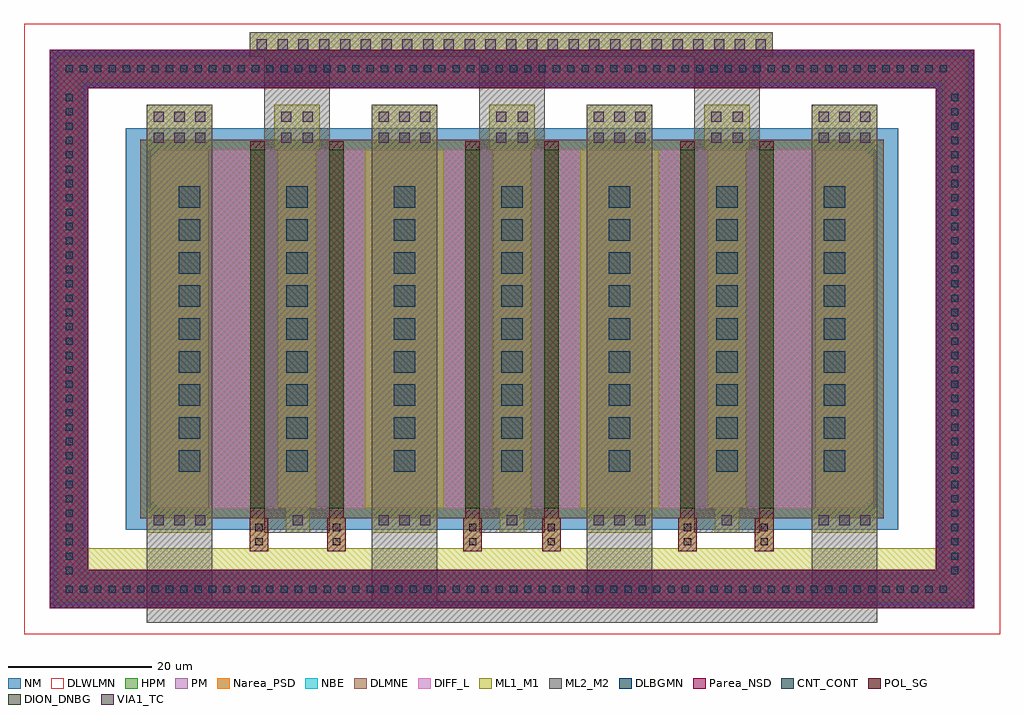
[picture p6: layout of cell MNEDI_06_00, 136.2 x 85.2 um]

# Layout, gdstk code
from math import pi, radians
import gdstk
lib = gdstk.Library(unit=1e-6, precision=1e-09)
def R(c, l, rs):  # rectangles x0, y0, x1, y1
    for r in rs: c.add(gdstk.rectangle(r[:2], r[2:], *l))
def A(c, l, x, y, w, h, nx, ny, dx, dy):  # array of equal rectangles
    R(c, l, [(x+i*dx, y+j*dy, x+i*dx+w, y+j*dy+h) for i in range(nx) for j in range(ny)])
def P(c, l, *ps):  # polygons
    for p in ps: c.add(gdstk.Polygon(p, *l))
DIFF_L = (3, 0)
NM = (7, 0)
POL_SG = (8, 0)
Narea_PSD = (9, 0)
CNT_CONT = (11, 0)
ML1_M1 = (13, 0)
VIA1_TC = (19, 0)
ML2_M2 = (20, 0)
Parea_NSD = (28, 0)
HPM = (33, 0)
PM = (35, 0)
DION_DNBG = (117, 0)
NBE = (147, 0)
DLWLMN = (151, 0)
DLMNE = (170, 0)
DLBGMN = (178, 0)

mne_cdns_696586926130 = lib.new_cell('MNE_CDNS_696586926130')
R(mne_cdns_696586926130, DIFF_L, [(10,0,12,50)])
P(mne_cdns_696586926130, DIFF_L, [(12,0),(12,50),(24.6,50),(26,48.6),(26,1.4),(24.6,0)],
  [(1.4,0),(0,1.4),(0,48.6),(1.4,50),(10,50),(10,0)])
R(mne_cdns_696586926130, NM, [(-1.4,-1.4,27.4,51.4)])
R(mne_cdns_696586926130, POL_SG, [(10,-1.2,12,0), (10,-1.2,12,51.2), (10,50,12,51.2)])
R(mne_cdns_696586926130, Narea_PSD, [(-1.4,-1.4,27.4,51.4)])
A(mne_cdns_696586926130, CNT_CONT, 4, 5.1, 3, 3, 1, 9, 0, 4.6)
A(mne_cdns_696586926130, CNT_CONT, 19, 5.1, 3, 3, 1, 9, 0, 4.6)
R(mne_cdns_696586926130, ML1_M1, [(2.8,0,8.2,50), (17.8,0,26,50)])
R(mne_cdns_696586926130, HPM, [(-1.4,-1.4,27.4,51.4)])
R(mne_cdns_696586926130, PM, [(-1.4,-1.4,27.4,51.4)])
R(mne_cdns_696586926130, DION_DNBG, [(10,0,12,50)])
R(mne_cdns_696586926130, NBE, [(-1.4,-1.4,27.4,51.4)])
R(mne_cdns_696586926130, DLMNE, [(-1.4,-1.4,27.4,51.4)])

bgmn_cdns_696586926131 = lib.new_cell('BGMN_CDNS_696586926131')
R(bgmn_cdns_696586926131, DIFF_L, [(0,0,126.2,2.6)])
R(bgmn_cdns_696586926131, NM, [(-1.4,-1.4,127.6,4)])
A(bgmn_cdns_696586926131, CNT_CONT, 0.8, 0.8, 1, 1, 62, 1, 2, 0)
R(bgmn_cdns_696586926131, ML1_M1, [(0,0,126.2,2.6)])
R(bgmn_cdns_696586926131, Parea_NSD, [(-1.4,-1.4,127.6,4)])
R(bgmn_cdns_696586926131, HPM, [(-1.4,-1.4,127.6,4)])
R(bgmn_cdns_696586926131, PM, [(-1.4,-1.4,127.6,4)])

wlmn_cdns_696586926132 = lib.new_cell('WLMN_CDNS_696586926132')
R(wlmn_cdns_696586926132, DLWLMN, [(0,0,136.2,85.2)])

bgmn_cdns_696586926133 = lib.new_cell('BGMN_CDNS_696586926133')
R(bgmn_cdns_696586926133, DIFF_L, [(0,0,70,2.6)])
R(bgmn_cdns_696586926133, NM, [(-1.4,-1.4,71.4,4)])
A(bgmn_cdns_696586926133, CNT_CONT, 0.8, 0.8, 1, 1, 34, 1, 2, 0)
R(bgmn_cdns_696586926133, ML1_M1, [(0,0,70,2.6)])
R(bgmn_cdns_696586926133, Parea_NSD, [(-1.4,-1.4,71.4,4)])
R(bgmn_cdns_696586926133, HPM, [(-1.4,-1.4,71.4,4)])
R(bgmn_cdns_696586926133, PM, [(-1.4,-1.4,71.4,4)])

tc14_cdns_696586926130 = lib.new_cell('TC14_CDNS_696586926130')
R(tc14_cdns_696586926130, ML1_M1, [(-36.5,-1.7,36.5,1.7)])
A(tc14_cdns_696586926130, VIA1_TC, -35.5, -0.7, 1.4, 1.4, 25, 1, 2.9, 0)
R(tc14_cdns_696586926130, ML2_M2, [(-36.5,-1.7,36.5,1.7)])

tc14_cdns_696586926131 = lib.new_cell('TC14_CDNS_696586926131')
R(tc14_cdns_696586926131, ML1_M1, [(-4.6,-3.1,4.6,3.2)])
A(tc14_cdns_696586926131, VIA1_TC, -3.6, -2.1, 1.4, 1.4, 3, 2, 2.9, 2.9)
R(tc14_cdns_696586926131, ML2_M2, [(-4.6,-3.1,4.6,3.2)])

tc14_cdns_696586926132 = lib.new_cell('TC14_CDNS_696586926132')
R(tc14_cdns_696586926132, ML1_M1, [(-1.7,-3.1,1.7,3.2)])
R(tc14_cdns_696586926132, VIA1_TC, [(-0.7,-2.1,0.7,-0.7), (-0.7,0.8,0.7,2.2)])
R(tc14_cdns_696586926132, ML2_M2, [(-1.7,-3.1,1.7,3.2)])

tc14_cdns_696586926133 = lib.new_cell('TC14_CDNS_696586926133')
R(tc14_cdns_696586926133, ML1_M1, [(-4.6,-1.7,4.6,1.7)])
A(tc14_cdns_696586926133, VIA1_TC, -3.6, -0.7, 1.4, 1.4, 3, 1, 2.9, 0)
R(tc14_cdns_696586926133, ML2_M2, [(-4.6,-1.7,4.6,1.7)])

tc14_cdns_696586926134 = lib.new_cell('TC14_CDNS_696586926134')
R(tc14_cdns_696586926134, ML1_M1, [(-1.7,-1.7,1.7,1.7)])
R(tc14_cdns_696586926134, VIA1_TC, [(-0.7,-0.7,0.7,0.7)])
R(tc14_cdns_696586926134, ML2_M2, [(-1.7,-1.7,1.7,1.7)])

sgct_cdns_696586926135 = lib.new_cell('SGCT_CDNS_696586926135')
R(sgct_cdns_696586926135, POL_SG, [(-1.3,-2.3,1.3,2.3)])
R(sgct_cdns_696586926135, CNT_CONT, [(-0.5,-1.5,0.5,-0.5), (-0.5,0.5,0.5,1.5)])
R(sgct_cdns_696586926135, ML1_M1, [(-1.3,-2.3,1.3,2.3)])

mnedi_06_00 = lib.new_cell('MNEDI_06_00')
R(mnedi_06_00, NM, [(14.2,14.6,122,70.6)])
R(mnedi_06_00, POL_SG, [(31.6,16.2,33.6,16.4), (42.6,16.2,44.6,16.4), (61.6,16.2,63.6,16.4), (72.6,16.2,74.6,16.4), (91.6,16.2,93.6,16.4), (102.6,16.2,104.6,16.4)])
R(mnedi_06_00, ML1_M1, [(7.6,7.6,128.6,12)])
A(mnedi_06_00, ML2_M2, 33.5, 14.2, 9.2, 69.8, 3, 1, 30, 0)
R(mnedi_06_00, ML2_M2, [(17.1,1.6,26.3,73.9), (17.1,1.6,18.6,3.1), (48.5,1.6,57.7,73.9), (78.5,1.6,87.7,73.9), (109.9,1.6,119.1,73.9), (31.5,83,32.5,84)])
R(mnedi_06_00, DLBGMN, [(3.6,3.6,132.6,9), (3.6,6.2,9,79), (127.2,6.2,132.6,79), (3.6,76.2,132.6,81.6)])
mnedi_06_00.add(gdstk.FlexPath([(103.3,12.9),(103.3,10.7),(32.8,10.7),(32.8,12.9)], 2.6, ends="flush", simple_path=True, layer=13, datatype=0))  # ML1_M1
mnedi_06_00.add(gdstk.FlexPath([(129.9,4.6),(129.9,80.6)], 3.4, ends="flush", simple_path=True, layer=13, datatype=0))  # ML1_M1
mnedi_06_00.add(gdstk.FlexPath([(6.3,4.6),(6.3,80.6)], 3.4, ends="flush", simple_path=True, layer=13, datatype=0))  # ML1_M1
mnedi_06_00.add(gdstk.FlexPath([(4.6,78.9),(131.6,78.9)], 3.4, ends="flush", simple_path=True, layer=13, datatype=0))  # ML1_M1
mnedi_06_00.add(gdstk.FlexPath([(4.6,6.3),(131.6,6.3)], 3.4, ends="flush", simple_path=True, layer=13, datatype=0))  # ML1_M1
mnedi_06_00.add(gdstk.FlexPath([(119.1,3.1),(17.1,3.1)], 3, ends="flush", simple_path=True, layer=20, datatype=0))  # ML2_M2
mnedi_06_00.add(gdstk.Reference(mne_cdns_696586926130, (103.6,17.6), rotation=pi, x_reflection=True))
mnedi_06_00.add(gdstk.Reference(mne_cdns_696586926130, (73.6,17.6), rotation=pi, x_reflection=True))
mnedi_06_00.add(gdstk.Reference(mne_cdns_696586926130, (92.6,17.6)))
mnedi_06_00.add(gdstk.Reference(mne_cdns_696586926130, (32.6,17.6)))
mnedi_06_00.add(gdstk.Reference(mne_cdns_696586926130, (62.6,17.6)))
mnedi_06_00.add(gdstk.Reference(mne_cdns_696586926130, (43.6,17.6), rotation=pi, x_reflection=True))
mnedi_06_00.add(gdstk.Reference(bgmn_cdns_696586926131, (5,5)))
mnedi_06_00.add(gdstk.Reference(bgmn_cdns_696586926131, (5,77.6)))
mnedi_06_00.add(gdstk.Reference(wlmn_cdns_696586926132, (0,0)))
mnedi_06_00.add(gdstk.Reference(bgmn_cdns_696586926133, (131.2,7.6), rotation=pi/2))
mnedi_06_00.add(gdstk.Reference(bgmn_cdns_696586926133, (7.6,7.6), rotation=pi/2))
mnedi_06_00.add(gdstk.Reference(tc14_cdns_696586926130, (68,82.3)))
mnedi_06_00.add(gdstk.Reference(tc14_cdns_696586926131, (114.5,70.7)))
mnedi_06_00.add(gdstk.Reference(tc14_cdns_696586926131, (83.1,70.7)))
mnedi_06_00.add(gdstk.Reference(tc14_cdns_696586926131, (53.1,70.7)))
mnedi_06_00.add(gdstk.Reference(tc14_cdns_696586926131, (21.7,70.7)))
mnedi_06_00.add(gdstk.Reference(tc14_cdns_696586926132, (99.6,70.7)))
mnedi_06_00.add(gdstk.Reference(tc14_cdns_696586926132, (96.6,70.7)))
mnedi_06_00.add(gdstk.Reference(tc14_cdns_696586926132, (69.6,70.7)))
mnedi_06_00.add(gdstk.Reference(tc14_cdns_696586926132, (66.6,70.7)))
mnedi_06_00.add(gdstk.Reference(tc14_cdns_696586926132, (39.6,70.7)))
mnedi_06_00.add(gdstk.Reference(tc14_cdns_696586926132, (36.6,70.7)))
mnedi_06_00.add(gdstk.Reference(tc14_cdns_696586926133, (114.5,15.9)))
mnedi_06_00.add(gdstk.Reference(tc14_cdns_696586926133, (83.1,15.9)))
mnedi_06_00.add(gdstk.Reference(tc14_cdns_696586926133, (53.1,15.9)))
mnedi_06_00.add(gdstk.Reference(tc14_cdns_696586926133, (21.7,15.9)))
mnedi_06_00.add(gdstk.Reference(tc14_cdns_696586926134, (98.1,15.9)))
mnedi_06_00.add(gdstk.Reference(tc14_cdns_696586926134, (68.1,15.9)))
mnedi_06_00.add(gdstk.Reference(tc14_cdns_696586926134, (38.2,15.9)))
mnedi_06_00.add(gdstk.Reference(sgct_cdns_696586926135, (103.3,13.9)))
mnedi_06_00.add(gdstk.Reference(sgct_cdns_696586926135, (92.6,13.9)))
mnedi_06_00.add(gdstk.Reference(sgct_cdns_696586926135, (73.6,13.9)))
mnedi_06_00.add(gdstk.Reference(sgct_cdns_696586926135, (62.6,13.9)))
mnedi_06_00.add(gdstk.Reference(sgct_cdns_696586926135, (43.6,13.9)))
mnedi_06_00.add(gdstk.Reference(sgct_cdns_696586926135, (32.8,13.9)))

lib.write_gds('MNEDI_06_00.gds')
